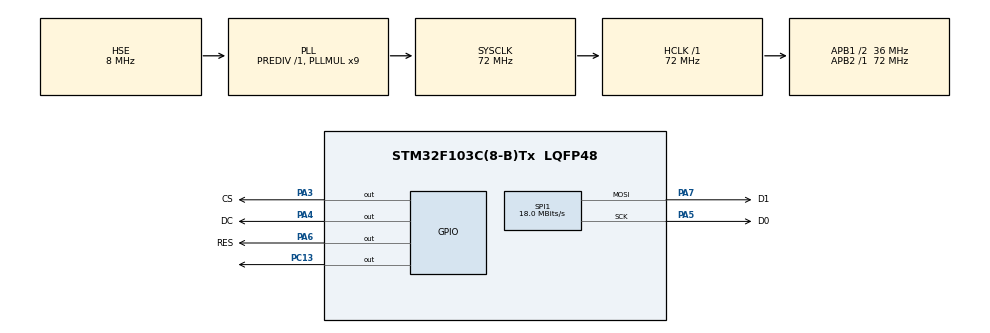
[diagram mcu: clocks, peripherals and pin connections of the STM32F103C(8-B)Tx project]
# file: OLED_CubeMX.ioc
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Mcu.Family=STM32F1
Mcu.Name=STM32F103C(8-B)Tx
Mcu.Package=LQFP48
NVIC.PriorityGroup=NVIC_PRIORITYGROUP_4
PA13.Mode=Serial_Wire
PA13.Signal=SYS_JTMS-SWDIO
PA14.Mode=Serial_Wire
PA14.Signal=SYS_JTCK-SWCLK
PA3.GPIO_Label=CS
PA3.Signal=GPIO_Output
PA4.GPIO_Label=DC
PA4.Signal=GPIO_Output
PA5.GPIO_Label=D0
PA5.Mode=TX_Only_Simplex_Unidirect_Master
PA5.Signal=SPI1_SCK
PA6.GPIO_Label=RES
PA6.Signal=GPIO_Output
PA7.GPIO_Label=D1
PA7.Mode=TX_Only_Simplex_Unidirect_Master
PA7.Signal=SPI1_MOSI
PC13-TAMPER-RTC.Signal=GPIO_Output
PD0-OSC_IN.Mode=HSE-External-Oscillator
PD0-OSC_IN.Signal=RCC_OSC_IN
PD1-OSC_OUT.Mode=HSE-External-Oscillator
PD1-OSC_OUT.Signal=RCC_OSC_OUT
ProjectManager.HeapSize=0x200
ProjectManager.StackSize=0x400
ProjectManager.TargetToolchain=MDK-ARM V5.32
RCC.AHBFreq_Value=72000000
RCC.APB1CLKDivider=RCC_HCLK_DIV2
RCC.APB1Freq_Value=36000000
RCC.APB1TimFreq_Value=72000000
RCC.APB2Freq_Value=72000000
RCC.APB2TimFreq_Value=72000000
RCC.HCLKFreq_Value=72000000
RCC.PLLMUL=RCC_PLL_MUL9
RCC.PLLSourceVirtual=RCC_PLLSOURCE_HSE
RCC.SYSCLKFreq_VALUE=72000000
RCC.SYSCLKSource=RCC_SYSCLKSOURCE_PLLCLK
RCC.USBFreq_Value=72000000
SPI1.BaudRatePrescaler=SPI_BAUDRATEPRESCALER_4
SPI1.CalculateBaudRate=18.0 MBits/s
SPI1.Direction=SPI_DIRECTION_2LINES
SPI1.Mode=SPI_MODE_MASTER
SPI1.VirtualType=VM_MASTER
board=custom

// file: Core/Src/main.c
/* USER CODE BEGIN Header */
/**
  ******************************************************************************
  * @file           : main.c
  * @brief          : Main program body
  ******************************************************************************
  * @attention
  *
  * Copyright (c) 2022 STMicroelectronics.
  * All rights reserved.
  *
  * This software is licensed under terms that can be found in the LICENSE file
  * in the root directory of this software component.
  * If no LICENSE file comes with this software, it is provided AS-IS.
  *
  ******************************************************************************
  */
/* USER CODE END Header */
#include "main.h"
#include "spi.h"
#include "gpio.h"

/* USER CODE BEGIN Includes */

#include "oled.h"
#include "bmp.h"
#include "gui.h"

/* USER CODE END Includes */

void SystemClock_Config(void);

int main(void)
{

  /* MCU Configuration--------------------------------------------------------*/

  /* Reset of all peripherals, Initializes the Flash interface and the Systick. */
  HAL_Init();

  /* Configure the system clock */
  SystemClock_Config();

  /* Initialize all configured peripherals */
  MX_GPIO_Init();
  MX_SPI1_Init();
  /* USER CODE BEGIN 2 */

	OLED_Init();	// OLED 初始化

		//清屏（全黑）
	OLED_Clear(0);

	//开机显示信息

	GUI_ShowString(40,0,(uint8_t *)"ppqppl",16,1);

	GUI_ShowString(20,24,(uint8_t *)"631907060520",16,1);

	GUI_ShowCHinese(40,48,16,(uint8_t *)"欢迎你",1);

	HAL_Delay(1000);

	OLED_Clear(0);
	OLED_WR_Byte(0x2E,OLED_CMD); //关闭滚动

	OLED_WR_Byte(0x27,OLED_CMD); //水平向左或者右滚动 26/27

	OLED_WR_Byte(0x00,OLED_CMD); //虚拟字节

	OLED_WR_Byte(0x00,OLED_CMD); //起始页 0

	OLED_WR_Byte(0x07,OLED_CMD); //滚动时间间隔

	OLED_WR_Byte(0x07,OLED_CMD); //终止页 7，即全屏

	OLED_WR_Byte(0x00,OLED_CMD); //虚拟字节

	OLED_WR_Byte(0xFF,OLED_CMD); //虚拟字节

	// 诗句
	GUI_ShowCHinese(10,24,16,(uint8_t *)"春有百花秋有月",1);
	OLED_WR_Byte(0x2F,OLED_CMD); //开启滚动

  /* USER CODE END 2 */

  /* Infinite loop */
  /* USER CODE BEGIN WHILE */
  while (1)
  {

		//开启滚动
		OLED_WR_Byte(0x2F,OLED_CMD);

		//延时
		HAL_Delay(6200);

    /* USER CODE END WHILE */

  }
}

void SystemClock_Config(void)
{
  RCC_OscInitTypeDef RCC_OscInitStruct = {0};
  RCC_ClkInitTypeDef RCC_ClkInitStruct = {0};

  /** Initializes the RCC Oscillators according to the specified parameters
  * in the RCC_OscInitTypeDef structure.
  */
  RCC_OscInitStruct.OscillatorType = RCC_OSCILLATORTYPE_HSE;
  RCC_OscInitStruct.HSEState = RCC_HSE_ON;
  RCC_OscInitStruct.HSEPredivValue = RCC_HSE_PREDIV_DIV1;
  RCC_OscInitStruct.HSIState = RCC_HSI_ON;
  RCC_OscInitStruct.PLL.PLLState = RCC_PLL_ON;
  RCC_OscInitStruct.PLL.PLLSource = RCC_PLLSOURCE_HSE;
  RCC_OscInitStruct.PLL.PLLMUL = RCC_PLL_MUL9;
  if (HAL_RCC_OscConfig(&RCC_OscInitStruct) != HAL_OK)
  {
    Error_Handler();
  }

  /** Initializes the CPU, AHB and APB buses clocks
  */
  RCC_ClkInitStruct.ClockType = RCC_CLOCKTYPE_HCLK|RCC_CLOCKTYPE_SYSCLK
                              |RCC_CLOCKTYPE_PCLK1|RCC_CLOCKTYPE_PCLK2;
  RCC_ClkInitStruct.SYSCLKSource = RCC_SYSCLKSOURCE_PLLCLK;
  RCC_ClkInitStruct.AHBCLKDivider = RCC_SYSCLK_DIV1;
  RCC_ClkInitStruct.APB1CLKDivider = RCC_HCLK_DIV2;
  RCC_ClkInitStruct.APB2CLKDivider = RCC_HCLK_DIV1;

  if (HAL_RCC_ClockConfig(&RCC_ClkInitStruct, FLASH_LATENCY_2) != HAL_OK)
  {
    Error_Handler();
  }
}

void Error_Handler(void)
{
  __disable_irq();
  while (1)
  {
  }
}
